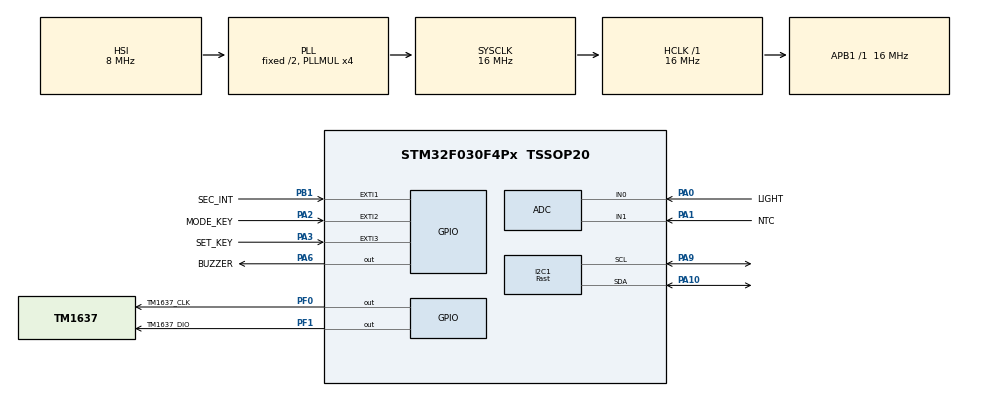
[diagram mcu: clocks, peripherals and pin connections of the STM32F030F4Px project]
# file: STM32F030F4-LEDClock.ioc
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ADC.ContinuousConvMode=ENABLE
ADC.DMAContinuousRequests=ENABLE
ADC.ExternalTrigConv=ADC_EXTERNALTRIGCONV_T3_TRGO
ADC.SamplingTime=ADC_SAMPLETIME_239CYCLES_5
Dma.ADC.0.Direction=DMA_PERIPH_TO_MEMORY
Dma.ADC.0.Instance=DMA1_Channel1
Dma.ADC.0.MemDataAlignment=DMA_MDATAALIGN_WORD
Dma.ADC.0.MemInc=DMA_MINC_ENABLE
Dma.ADC.0.Mode=DMA_CIRCULAR
Dma.ADC.0.PeriphDataAlignment=DMA_PDATAALIGN_WORD
Dma.ADC.0.PeriphInc=DMA_PINC_DISABLE
Dma.ADC.0.Priority=DMA_PRIORITY_LOW
Dma.Request0=ADC
I2C1.I2C_Speed_Mode=I2C_Fast
I2C1.Timing=0x0000020B
Mcu.Family=STM32F0
Mcu.Name=STM32F030F4Px
Mcu.Package=TSSOP20
NVIC.DMA1_Channel1_IRQn=true\:0\:0\:false\:false\:true\:false\:true
NVIC.EXTI0_1_IRQn=true\:0\:0\:true\:false\:true\:true\:true
NVIC.EXTI2_3_IRQn=true\:0\:0\:true\:false\:true\:true\:true
NVIC.TIM16_IRQn=true\:0\:0\:false\:false\:true\:true\:true
NVIC.TIM17_IRQn=true\:0\:0\:false\:false\:true\:true\:true
PA0.GPIO_Label=LIGHT
PA0.Mode=IN0
PA0.Signal=ADC_IN0
PA1.GPIO_Label=NTC
PA1.Mode=IN1
PA1.Signal=ADC_IN1
PA10.Mode=I2C
PA10.Signal=I2C1_SDA
PA13.Mode=Serial_Wire
PA13.Signal=SYS_SWDIO
PA14.Mode=Serial_Wire
PA14.Signal=SYS_SWCLK
PA2.GPIO_Label=MODE_KEY
PA2.GPIO_ModeDefaultEXTI=GPIO_MODE_IT_RISING_FALLING
PA2.GPIO_PuPd=GPIO_PULLUP
PA2.Signal=GPXTI2
PA3.GPIO_Label=SET_KEY
PA3.GPIO_ModeDefaultEXTI=GPIO_MODE_IT_RISING_FALLING
PA3.GPIO_PuPd=GPIO_PULLUP
PA3.Signal=GPXTI3
PA6.GPIO_Label=BUZZER
PA6.PinState=GPIO_PIN_SET
PA6.Signal=GPIO_Output
PA9.Mode=I2C
PA9.Signal=I2C1_SCL
PB1.GPIO_Label=SEC_INT
PB1.GPIO_ModeDefaultEXTI=GPIO_MODE_IT_FALLING
PB1.GPIO_PuPd=GPIO_PULLUP
PB1.Signal=GPXTI1
PF0-OSC_IN.GPIO_Label=TM1637_CLK
PF0-OSC_IN.GPIO_ModeDefaultOutputPP=GPIO_MODE_OUTPUT_OD
PF0-OSC_IN.GPIO_PuPd=GPIO_NOPULL
PF0-OSC_IN.GPIO_Speed=GPIO_SPEED_FREQ_MEDIUM
PF0-OSC_IN.PinState=GPIO_PIN_SET
PF0-OSC_IN.Signal=GPIO_Output
PF1-OSC_OUT.GPIO_Label=TM1637_DIO
PF1-OSC_OUT.GPIO_ModeDefaultOutputPP=GPIO_MODE_OUTPUT_OD
PF1-OSC_OUT.GPIO_PuPd=GPIO_NOPULL
PF1-OSC_OUT.GPIO_Speed=GPIO_SPEED_FREQ_MEDIUM
PF1-OSC_OUT.PinState=GPIO_PIN_SET
PF1-OSC_OUT.Signal=GPIO_Output
ProjectManager.HeapSize=0x200
ProjectManager.StackSize=0x400
ProjectManager.TargetToolchain=TrueSTUDIO
RCC.AHBFreq_Value=16000000
RCC.APB1Freq_Value=16000000
RCC.APB1TimFreq_Value=16000000
RCC.HCLKFreq_Value=16000000
RCC.PLLMUL=RCC_PLL_MUL4
RCC.SYSCLKFreq_VALUE=16000000
RCC.SYSCLKSource=RCC_SYSCLKSOURCE_PLLCLK
TIM16.AutoReloadPreload=TIM_AUTORELOAD_PRELOAD_ENABLE
TIM16.Period=9999
TIM16.Prescaler=1599
TIM17.AutoReloadPreload=TIM_AUTORELOAD_PRELOAD_ENABLE
TIM17.Period=999
TIM17.Prescaler=15
TIM3.Period=9999
TIM3.Prescaler=15
TIM3.TIM_MasterOutputTrigger=TIM_TRGO_UPDATE
VP_TIM16_VS_ClockSourceINT.Mode=Enable_Timer
VP_TIM17_VS_ClockSourceINT.Mode=Enable_Timer
VP_TIM3_VS_ClockSourceINT.Mode=Internal
board=custom

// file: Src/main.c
/* USER CODE BEGIN Header */
/**
  ******************************************************************************
  * @file           : main.c
  * @brief          : Main program body
  ******************************************************************************
  * @attention
  *
  * <h2><center>&copy; Copyright (c) 2019 STMicroelectronics.
  * All rights reserved.</center></h2>
  *
  * This software component is licensed by ST under BSD 3-Clause license,
  * the "License"; You may not use this file except in compliance with the
  * License. You may obtain a copy of the License at:
  *                        opensource.org/licenses/BSD-3-Clause
  *
  ******************************************************************************
  */
/* USER CODE END Header */

#include "main.h"
#include "adc.h"
#include "dma.h"
#include "i2c.h"
#include "tim.h"
#include "gpio.h"

/* USER CODE BEGIN Includes */
#include "TM1637.h"
#include "SD3077.h"
#include "stdbool.h"
/* USER CODE END Includes */

/* USER CODE BEGIN PTD */
typedef enum{
	MODE_SHOW_TIME = 0,
	MODE_SHOW_SECOND,
	MODE_SHOW_TEMPERTURE,
	MODE_SET_HOUR,
	MODE_SET_MINUTE,
	MODE_SET_ALARM_ENABLE,
	MODE_SET_ALARM_HOUR,
	MODE_SET_ALARM_MINUTE,
	MODE_SET_TEMP_SHOW,
	MODE_SET_TEMP_HIDE,
	MODE_SET_BRIGHTNESS,
	MODE_SET_BRIGHTNESS_STRONG,
	MODE_SET_BRIGHTNESS_WEAK,
	MODE_SET_ROT_ENABLE,
	MODE_SET_ROT_START,
	MODE_SET_ROT_STOP,
}DisplayMode;
/* USER CODE END PTD */

/* USER CODE BEGIN PM */
#define SECOND_INT_PIN               SEC_INT_Pin             // 秒中断管脚编号
#define SECOND_INT_EXTI_IRQN         SEC_INT_EXTI_IRQn       // 秒中断IRQN
#define KEY_EXTI_IRQN                MODE_KEY_EXTI_IRQn      // 按键中断IRQN

#define MODE_KEY_GPIO_PORT           MODE_KEY_GPIO_Port      // 模式按钮接口
#define MODE_KEY_PIN                 MODE_KEY_Pin            // 模式按钮接口编号

#define SET_KEY_GPIO_PORT            SET_KEY_GPIO_Port       // 设置按钮接口
#define SET_KEY_PIN                  SET_KEY_Pin             // 设置按钮接口编号

#define BUZZER_GPIO_PORT             BUZZER_GPIO_Port        // 蜂鸣器接口
#define BUZZER_PIN                   BUZZER_Pin              // 蜂鸣器接口编号

#define KEY_LONG_PRESS_EFFECT_TIME   800       // 按钮长按生效时间
#define KEY_REPEAT_TIME_INTERVAL     250       // 按钮长按重复报告间隔
#define KEY_CLICK_EFFECT_TIME        50        // 按钮按下生效时间
#define YEAR_MAX_SET                 38        // 最大可设置的年
#define YEAR_MIN_SET                 15        // 最小可设置的年
#define TEMPERTURE_MAX_SHOW_TIME     15
#define TEMPERTURE_MAX_HIDE_TIME     30
#define RING_ON_TIME_LONG            1000      // 整点报时响铃时长
#define STRONG_BRIGHTNESS_ADC_VALUE  2800      //
#define WEAK_BRIGHTNESS_ADC_VALUE    2300      //
#define STRONG_BRIGHTNESS_VALUE      8         //
#define WEAK_BRIGHTNESS_VALUE        1         //

#define ALARM_CONTROL_TIMER_HANDLE   htim17    // 响铃控制定时器
#define ALARM_CONTROL_TIMER          TIM17     // 响铃控制定时器
#define LIGHT_CONTROL_TIMER_HANDLE   htim16    // 亮度控制定时器
#define LIGHT_CONTROL_TIMER          TIM16     // 亮度控制定时器
#define TEMPERTURE_ADC_HANDLE        hadc      // ADC

#define BAK_DATA_SIZE                13
#define BAK_POWER_DOWN_IND_INDEX     0x00
#define BAK_ALARM_ENABLED_INDEX      0x02
#define BAK_ALARM_HOUR_INDEX         0x03
#define BAK_ALARM_MINUTE_INDEX       0x04
#define BAK_TEMP_SHOW_TIME_INDEX     0x05
#define BAK_TEMP_HIDE_TIME_INDEX     0x06
#define BAK_ROT_ENABLED_INDEX        0x07
#define BAK_ROT_START_INDEX          0x08
#define BAK_ROT_STOP_INDEX           0x09
#define BAK_BRIGHTNESS_INDEX         0x0A
#define BAK_BRIGHTNESS_STRONG_INDEX  0x0B
#define BAK_BRIGHTNESS_WEAK_INDEX    0x0C

#define POWER_DOWN_IND_DATA          0xFA

// NTC温度读取相关
#define TEMP_BUFFER_SIZE   8     // 温度读取缓存长度
#define TEMP_MAP_SIZE      126   // 温度表长度
const uint16_t tempertureMap[] = {1054, 1091, 1128, 1165, 1203, 1242, 1280, 1320, 1359, 1399, 1439, 1479, 1520, 1560, 1601, 1642, 1683, 1724, 1765, 1805, 1846, 1887, 1927, 1968, 2008, 2048, 2087, 2126, 2165, 2204, 2242, 2280, 2318, 2355, 2391, 2427, 2463, 2498, 2533, 2567, 2601, 2634, 2667, 2699, 2730, 2761, 2791, 2821, 2850, 2879, 2907, 2935, 2962, 2988, 3014, 3040, 3064, 3089, 3113, 3136, 3158, 3181, 3202, 3224, 3244, 3264, 3284, 3303, 3322, 3341, 3359, 3376, 3393, 3410, 3426, 3442, 3457, 3472, 3487, 3501, 3515, 3529, 3542, 3555, 3568, 3580, 3592, 3603, 3615, 3626, 3637, 3647, 3657, 3667, 3677, 3687, 3696, 3705, 3714, 3722, 3730, 3739, 3747, 3754, 3762, 3769, 3776, 3783, 3790, 3797, 3803, 3809, 3815, 3821, 3827, 3833, 3839, 3844, 3849, 3854, 3859, 3864, 3869, 3874, 3878, 3883, };

/* USER CODE END PM */

/* USER CODE BEGIN PV */
DisplayMode currentMode = MODE_SHOW_TIME;
bool isInitCompleted = false;
uint32_t lastDisplayChangeTime;

// ADC
uint32_t adcValue[2];

uint8_t savedBrightness = 0;
bool isWeakBrightness = true;
uint8_t strongBrightness, weakBrightness;

DateTime time, lastTime;
uint8_t blinkControl;

bool isAlarmEnabled = false;
bool isAlarmed = false, isAlarming = false;

uint8_t alarmHour = 0, alarmMin = 0;

bool isRingOnTimeEnabled ;
uint8_t ringOnTimeStart, ringOnTimeStop;
uint8_t lastRingOnTimeHour;
uint32_t ringStartTime;

uint32_t lastModeKeyPressTime, lastSetKeyPressTime, lastSetKeyPressReportTime;
uint32_t alarmTimestamp, alarmBeepCount;
bool setKeyRepeatReported = false;

// 温度
uint8_t temperture = 25;
uint8_t tempertureShowTime, tempertureHideTime;
uint8_t tempBuffered = 0;
uint16_t tempBuffer[TEMP_BUFFER_SIZE + 1];
/* USER CODE END PV */

void SystemClock_Config(void);

/* USER CODE BEGIN 0 */
void readBackupSettings() {
	uint8_t data[3];
	ReadBackData(0, data, 3);

	alarmHour = data[0];
	alarmMin = data[1];
	isAlarmEnabled = data[2];

	// 检查闹铃设置是否合规
	if(alarmHour > 23) alarmHour = 0;
	if(alarmMin > 59) alarmMin = 0;
}

void saveSettings(){
	uint8_t data[BAK_DATA_SIZE] = {
			POWER_DOWN_IND_DATA,
			POWER_DOWN_IND_DATA,
			isAlarmEnabled,
			alarmHour,
			alarmMin,
			tempertureShowTime,
			tempertureHideTime,
			isRingOnTimeEnabled,
			ringOnTimeStart,
			ringOnTimeStop,
			savedBrightness,
			strongBrightness,
			weakBrightness,
	};
	WriteBackData(0, data, BAK_DATA_SIZE);
}

void resetSettings(){
	  isAlarmEnabled = false;
	  alarmHour = 0;
	  alarmMin = 0;
	  tempertureShowTime = 2;
	  tempertureHideTime = 10;
	  isRingOnTimeEnabled = false;
	  ringOnTimeStart = 8;
	  ringOnTimeStop = 20;
	  savedBrightness = 8;
	  strongBrightness = 8;
	  weakBrightness = 1;
}

void checkRingOnTime(){
	// 启用整点报时
	if(isRingOnTimeEnabled
			// 当前是整点
			&& time.minutes == 0
			// 当前整点尚未报时
			&& time.hours != lastRingOnTimeHour
			// 闹铃未开启或闹铃设置的时间不是整点或不是当前整点
			&& (!isAlarmEnabled || alarmMin != 0 || alarmHour != time.hours)){

		if(ringOnTimeStart <= ringOnTimeStop){
			if(time.hours >= ringOnTimeStart && time.hours <= ringOnTimeStop){
				ringStartTime = HAL_GetTick();
				HAL_GPIO_WritePin(BUZZER_GPIO_PORT, BUZZER_PIN, GPIO_PIN_RESET);
			}
		}
		else{
			if(time.hours >= ringOnTimeStart || time.hours <= ringOnTimeStop){
				ringStartTime = HAL_GetTick();
				HAL_GPIO_WritePin(BUZZER_GPIO_PORT, BUZZER_PIN, GPIO_PIN_RESET);
			}
		}

		lastRingOnTimeHour = time.hours;
	}
}

void alarmStart(){
	isAlarming = true;
	isAlarmed = true;
	HAL_TIM_Base_Start_IT(&ALARM_CONTROL_TIMER_HANDLE);
}

void alarmTimerTick()
{
    uint16_t onTime = 50, offTime = 50, restTime = 500;
    uint8_t ringCounts = 4;
	alarmTimestamp ++;
	if(HAL_GPIO_ReadPin(BUZZER_GPIO_PORT, BUZZER_PIN) == GPIO_PIN_RESET)
	{
		// 短鸣XX毫秒
		if(alarmTimestamp > onTime){
			HAL_GPIO_WritePin(BUZZER_GPIO_PORT, BUZZER_PIN, SET);
			alarmBeepCount ++;
			alarmTimestamp = 0;
		}
	}
	else
	{
		// 鸣X+1次
		if(alarmBeepCount < ringCounts)
		{
			// 两次短鸣时间间隔
			if(alarmTimestamp > offTime)
			{
				HAL_GPIO_WritePin(BUZZER_GPIO_PORT, BUZZER_PIN, RESET);
				alarmTimestamp = 0;
			}

		}
		// 鸣X+1次后停止响铃一段时间
		else if(alarmTimestamp > restTime)
		{
			HAL_GPIO_WritePin(BUZZER_GPIO_PORT, BUZZER_PIN, RESET);
			alarmTimestamp = 0;
			alarmBeepCount = 0;
		}
	}
}

void alarmStop(){
	isAlarming = false;
	HAL_TIM_Base_Stop_IT(&ALARM_CONTROL_TIMER_HANDLE);
	HAL_GPIO_WritePin(BUZZER_GPIO_PORT, BUZZER_PIN, SET);
}

void checkAlarm(){
	if(alarmHour == time.hours && alarmMin == time.minutes && isAlarmed == false && isAlarmEnabled){
		alarmStart();
	}

	if(alarmHour != time.hours || alarmMin != time.minutes){
		if(isAlarming){
			alarmStop();
		}
		isAlarmed = false;
	}
}

void refreshTemperture(){
	// 开启温度转换ADC

	uint32_t value;
	uint32_t srcValue = adcValue[1];

	if(tempBuffered < TEMP_BUFFER_SIZE)
	{
		tempBuffer[tempBuffered++] = (uint16_t)srcValue;
		value = srcValue;
	}
	else{
		tempBuffer[TEMP_BUFFER_SIZE] = (uint16_t)srcValue;
		value = 0;
		for(uint8_t i = 0; i < TEMP_BUFFER_SIZE; i++)
		{
			tempBuffer[i] = tempBuffer[i+1];
			value += tempBuffer[i];
		}
		value = value / TEMP_BUFFER_SIZE;
	}

	for(uint8_t i = 0; i < TEMP_MAP_SIZE; i++)
	{
		if(value <= tempertureMap[i]){
			temperture = i;
			return;
		}
	}

	temperture = 0;
	return;
}

void refreshTimeDisplay() {
	TimeNow(&time);
	lastTime = time;
	if (currentMode == MODE_SHOW_TIME) {
		uint16_t number = time.hours * 100 + time.minutes;
		TM1637ShowNumberRight(3, number, blinkControl ? 2 : 0xFF, 1);
	}
	else if (currentMode == MODE_SHOW_SECOND) {
		TM1637SetChar(0, ' ', false);
		TM1637SetChar(1, ' ', true);
		TM1637SetChar(2, time.seconds / 10 + '0', false);
		TM1637SetChar(3, time.seconds % 10 + '0', false);
	}
	else if (currentMode == MODE_SHOW_TEMPERTURE){
		refreshTemperture();
		if(temperture > 99){
			temperture = 99;
		}
		TM1637SetChar(0, ' ', false);
		TM1637SetChar(1, temperture / 10 + '0', false);
		TM1637SetChar(2, temperture % 10 + '0', false);
		TM1637SetChar(3, 'C', false);
	}

	checkAlarm();
	checkRingOnTime();
}

void refreshSettingsDisplay(){
	char disp[5] = {0};
	if(currentMode == MODE_SET_HOUR){
		disp[0] = blinkControl ? ' ' : (lastTime.hours / 10 + '0');
		disp[1] = blinkControl ? ' ' : (lastTime.hours % 10 + '0');
		disp[2] = lastTime.minutes / 10  + '0';
		disp[3] = lastTime.minutes % 10  + '0';
	}
	else if(currentMode == MODE_SET_MINUTE){
		disp[0] = lastTime.hours / 10 + '0';
		disp[1] = lastTime.hours % 10 + '0';
		disp[2] = blinkControl ? ' ' : lastTime.minutes / 10  + '0';
		disp[3] = blinkControl ? ' ' : lastTime.minutes % 10  + '0';
	}
	else if(currentMode == MODE_SET_ALARM_ENABLE){
		disp[0] = 'A';
		disp[1] = 'L';
		disp[2] = blinkControl ? ' ' : 'o' ;
		disp[3] = blinkControl ? ' ' : isAlarmEnabled ? 'n' : 'F';
	}
	else if(currentMode == MODE_SET_ALARM_HOUR){
		disp[0] = blinkControl ? ' ' : (alarmHour / 10 + '0');
		disp[1] = blinkControl ? ' ' : (alarmHour % 10 + '0');
		disp[2] = alarmMin / 10  + '0';
		disp[3] = alarmMin % 10  + '0';
	}
	else if(currentMode == MODE_SET_ALARM_MINUTE){
		disp[0] = alarmHour / 10 + '0';
		disp[1] = alarmHour % 10 + '0';
		disp[2] = blinkControl ? ' ' : alarmMin / 10  + '0';
		disp[3] = blinkControl ? ' ' : alarmMin % 10  + '0';
	}
	else if(currentMode == MODE_SET_TEMP_SHOW){
		disp[0] = 'T';
		disp[1] = 'S';
		disp[2] = blinkControl ? ' ' : tempertureShowTime / 10  + '0';
		disp[3] = blinkControl ? ' ' : tempertureShowTime % 10  + '0';
	}
	else if(currentMode == MODE_SET_TEMP_HIDE){
		disp[0] = 'T';
		disp[1] = 'H';
		disp[2] = blinkControl ? ' ' : tempertureHideTime / 10  + '0';
		disp[3] = blinkControl ? ' ' : tempertureHideTime % 10  + '0';
	}
	else if (currentMode == MODE_SET_BRIGHTNESS) {
		disp[0] = 'b';
		disp[1] = 'r';
		if (savedBrightness) {
			disp[2] = blinkControl ? ' ' : '0';
			disp[3] = blinkControl ? ' ' : savedBrightness + '0';
		}
		else {
			disp[2] = 'A';
			disp[3] = 'U';
		}
	}
	else if (currentMode == MODE_SET_BRIGHTNESS_STRONG) {
		disp[0] = 'b';
		disp[1] = '1';
		disp[2] = blinkControl ? ' ' : '0';
		disp[3] = blinkControl ? ' ' : strongBrightness + '0';
	}
	else if (currentMode == MODE_SET_BRIGHTNESS_WEAK) {
		disp[0] = 'b';
		disp[1] = '2';
		disp[2] = blinkControl ? ' ' : '0';
		disp[3] = blinkControl ? ' ' : weakBrightness + '0';
	}
	else if(currentMode == MODE_SET_ROT_ENABLE){
		disp[0] = 'r';
		disp[1] = 'o';
		disp[2] = blinkControl ? ' ' : 'o' ;
		disp[3] = blinkControl ? ' ' : isRingOnTimeEnabled ? 'n' : 'F';
	}
	else if(currentMode == MODE_SET_ROT_START){
		disp[0] = 'r';
		disp[1] = 'S';
		disp[2] = blinkControl ? ' ' : ringOnTimeStart / 10  + '0';
		disp[3] = blinkControl ? ' ' : ringOnTimeStart % 10  + '0';
	}
	else if(currentMode == MODE_SET_ROT_STOP){
		disp[0] = 'r';
		disp[1] = 'e';
		disp[2] = blinkControl ? ' ' : ringOnTimeStop / 10  + '0';
		disp[3] = blinkControl ? ' ' : ringOnTimeStop % 10  + '0';
	}

	TM1637SetChar(0, disp[0], false);
	TM1637SetChar(1, disp[1], true);
	TM1637SetChar(2, disp[2], false);
	TM1637SetChar(3, disp[3], false);
}

void modeKeyClicked() {

	if(isAlarming){
		alarmStop();
		return;
	}

	if (currentMode == MODE_SHOW_TIME || currentMode == MODE_SHOW_TEMPERTURE) {
		currentMode = MODE_SET_HOUR;
		blinkControl = 0xFF;
		refreshSettingsDisplay();
		SetInterruptOuput(F_2_HZ);
	}
	else if (currentMode == MODE_SHOW_SECOND) {
		lastTime.seconds = 0;
		SetTime(&lastTime);
		refreshTimeDisplay();
	}
	else if (currentMode == MODE_SET_HOUR) {
		currentMode = MODE_SET_MINUTE;
		blinkControl = 0xFF;
		refreshSettingsDisplay();
	}
	else if (currentMode == MODE_SET_MINUTE) {
		currentMode = MODE_SET_ALARM_ENABLE;
		blinkControl = 0x00;
		refreshSettingsDisplay();
	}
	else if (currentMode == MODE_SET_ALARM_ENABLE) {
		currentMode = isAlarmEnabled ? MODE_SET_ALARM_HOUR : MODE_SET_TEMP_SHOW;
		blinkControl = 0xFF;
		refreshSettingsDisplay();
	}
	else if (currentMode == MODE_SET_ALARM_HOUR) {
		currentMode = MODE_SET_ALARM_MINUTE;
		blinkControl = 0xFF;
		refreshSettingsDisplay();
	}
	else if (currentMode == MODE_SET_ALARM_MINUTE) {
		currentMode = MODE_SET_TEMP_SHOW;
		blinkControl = 0x00;
		refreshSettingsDisplay();
	}
	else if (currentMode == MODE_SET_TEMP_SHOW) {
		if(tempertureShowTime != 0){
			currentMode = MODE_SET_TEMP_HIDE;
		}
		else{
			currentMode = MODE_SET_BRIGHTNESS;
		}
		blinkControl = 0x00;
		refreshSettingsDisplay();

	}
	else if (currentMode == MODE_SET_TEMP_HIDE) {
		currentMode = MODE_SET_BRIGHTNESS;
		blinkControl = 0x00;
		refreshSettingsDisplay();
	}
	else if (currentMode == MODE_SET_BRIGHTNESS) {
		if(savedBrightness == 0){
			currentMode = MODE_SET_BRIGHTNESS_STRONG;
		}
		else{
			currentMode = MODE_SET_ROT_ENABLE;
		}
		blinkControl = 0x00;
		refreshSettingsDisplay();
	}
	else if (currentMode == MODE_SET_BRIGHTNESS_STRONG) {
		currentMode = MODE_SET_BRIGHTNESS_WEAK;
		blinkControl = 0x00;
		TM1637SetBrightness(weakBrightness);
		refreshSettingsDisplay();
	}
	else if (currentMode == MODE_SET_BRIGHTNESS_WEAK) {
		currentMode = MODE_SET_ROT_ENABLE;
		blinkControl = 0x00;
		TM1637SetBrightness(strongBrightness);
		isWeakBrightness = false;
		refreshSettingsDisplay();
	}
	else if (currentMode == MODE_SET_ROT_ENABLE) {
		blinkControl = 0x00;
		if(!isRingOnTimeEnabled){
			currentMode = MODE_SHOW_TIME;
			// 设置时间
			TimeNow(&time);
			lastTime.seconds = time.seconds;
			SetTime(&lastTime);
			lastRingOnTimeHour = lastTime.hours;

			saveSettings();

			refreshTimeDisplay();
			EnableSencodInterruptOuput();
			lastDisplayChangeTime = HAL_GetTick();
		}
		else{
			currentMode = MODE_SET_ROT_START;
			refreshSettingsDisplay();
		}
	}
	else if (currentMode == MODE_SET_ROT_START) {
		currentMode = MODE_SET_ROT_STOP;
		blinkControl = 0x00;
		refreshSettingsDisplay();
	}
	else if (currentMode == MODE_SET_ROT_STOP) {
		currentMode = MODE_SHOW_TIME;
		// 设置时间
		TimeNow(&time);
		lastTime.seconds = time.seconds;
		SetTime(&lastTime);
		lastRingOnTimeHour = lastTime.hours;
		saveSettings();
		refreshTimeDisplay();
		EnableSencodInterruptOuput();
		lastDisplayChangeTime = HAL_GetTick();

	}
}

void modeKeyLongPressed(){
	if(isAlarming){
		alarmStop();
		return;
	}

	if(currentMode >= MODE_SET_HOUR && currentMode <= MODE_SET_ROT_STOP){
		currentMode = MODE_SHOW_TIME;
		refreshTimeDisplay();
		lastDisplayChangeTime = HAL_GetTick();
	}
}

void setKeyClicked() {
	if(isAlarming){
		alarmStop();
		return;
	}

	if (currentMode == MODE_SHOW_TIME || currentMode == MODE_SHOW_TEMPERTURE) {
		currentMode = MODE_SHOW_SECOND;
		refreshTimeDisplay();
	}
	else if (currentMode == MODE_SHOW_SECOND) {
		currentMode = MODE_SHOW_TIME;
		refreshTimeDisplay();
		lastDisplayChangeTime = HAL_GetTick();
	}
	else if (currentMode == MODE_SET_HOUR) {
		lastTime.hours++;
		if (lastTime.hours > 23) {
			lastTime.hours = 0;
		}
		blinkControl = 0;
		refreshSettingsDisplay();
	}
	else if (currentMode == MODE_SET_MINUTE) {
		lastTime.minutes++;
		if (lastTime.minutes > 59) {
			lastTime.minutes = 0;
		}
		blinkControl = 0;
		refreshSettingsDisplay();
	}
	else if (currentMode == MODE_SET_ALARM_ENABLE) {
		isAlarmEnabled = isAlarmEnabled ? false : true;
		blinkControl = 0;
		refreshSettingsDisplay();
	}
	else if (currentMode == MODE_SET_ALARM_HOUR) {
		alarmHour++;
		if (alarmHour > 23) {
			alarmHour = 0;
		}
		blinkControl = 0;
		refreshSettingsDisplay();
	}
	else if (currentMode == MODE_SET_ALARM_MINUTE) {
		alarmMin++;
		if (alarmMin > 59) {
			alarmMin = 0;
		}
		blinkControl = 0;
		refreshSettingsDisplay();
	}
	else if (currentMode == MODE_SET_TEMP_SHOW) {
		tempertureShowTime++;
		if (tempertureShowTime > TEMPERTURE_MAX_SHOW_TIME) {
			tempertureShowTime = tempertureHideTime == 0 ? 1 : 0;
		}
		blinkControl = 0;
		refreshSettingsDisplay();
	}
	else if (currentMode == MODE_SET_TEMP_HIDE) {
		tempertureHideTime++;
		if (tempertureHideTime > TEMPERTURE_MAX_HIDE_TIME) {
			tempertureHideTime = tempertureShowTime == 0 ? 1 : 0;
		}
		blinkControl = 0;
		refreshSettingsDisplay();
	}
	else if (currentMode == MODE_SET_BRIGHTNESS) {
		savedBrightness++;
		if (savedBrightness > 8) {
			savedBrightness = 0;
		}
		TM1637SetBrightness(savedBrightness == 0 ? 1 : savedBrightness);
		blinkControl = 0;
		refreshSettingsDisplay();
	}
	else if (currentMode == MODE_SET_BRIGHTNESS_STRONG) {
		strongBrightness++;
		if (strongBrightness > 8) {
			strongBrightness = 1;
		}
		blinkControl = 0;
		TM1637SetBrightness(strongBrightness);
		refreshSettingsDisplay();
	}
	else if (currentMode == MODE_SET_BRIGHTNESS_WEAK) {
		weakBrightness++;
		if (weakBrightness > 8) {
			weakBrightness = 1;
		}
		blinkControl = 0;
		TM1637SetBrightness(weakBrightness);
		refreshSettingsDisplay();
	}
	else if (currentMode == MODE_SET_ROT_ENABLE) {
		isRingOnTimeEnabled = isRingOnTimeEnabled ? false : true;
		blinkControl = 0;
		refreshSettingsDisplay();
	}
	else if (currentMode == MODE_SET_ROT_START) {
		ringOnTimeStart++;
		if (ringOnTimeStart > 23) {
			ringOnTimeStart = 0;
		}
		blinkControl = 0;
		refreshSettingsDisplay();
	}
	else if (currentMode == MODE_SET_ROT_STOP) {
		ringOnTimeStop++;
		if (ringOnTimeStop > 23) {
			ringOnTimeStop = 0;
		}
		blinkControl = 0;
		refreshSettingsDisplay();
	}
}

void setKeyPresseRepeatReport() {
	setKeyRepeatReported = true;

	if (currentMode == MODE_SET_HOUR) {
		lastTime.hours++;
		if (lastTime.hours > 23) {
			lastTime.hours = 0;
		}
		blinkControl = 0;
		refreshSettingsDisplay();
	}
	else if (currentMode == MODE_SET_MINUTE) {
		lastTime.minutes++;
		if (lastTime.minutes > 59) {
			lastTime.minutes = 0;
		}
		blinkControl = 0;
		refreshSettingsDisplay();
	}
	else if (currentMode == MODE_SET_ALARM_HOUR) {
		alarmHour++;
		if (alarmHour > 23) {
			alarmHour = 0;
		}
		blinkControl = 0;
		refreshSettingsDisplay();
	}
	else if (currentMode == MODE_SET_ALARM_MINUTE) {
		alarmMin++;
		if (alarmMin > 59) {
			alarmMin = 0;
		}
		blinkControl = 0;
		refreshSettingsDisplay();
	}
	else if (currentMode == MODE_SET_TEMP_SHOW) {
		tempertureShowTime++;
		if (tempertureShowTime > TEMPERTURE_MAX_SHOW_TIME) {
			tempertureShowTime = tempertureHideTime == 0 ? 1 : 0;
		}
		blinkControl = 0;
		refreshSettingsDisplay();
	}
	else if (currentMode == MODE_SET_TEMP_HIDE) {
		tempertureHideTime++;
		if (tempertureHideTime > TEMPERTURE_MAX_HIDE_TIME) {
			tempertureHideTime = tempertureShowTime == 0 ? 1 : 0;
		}
		blinkControl = 0;
		refreshSettingsDisplay();
	}
	else if (currentMode == MODE_SET_ROT_START) {
		ringOnTimeStart++;
		if (ringOnTimeStart > 23) {
			ringOnTimeStart = 0;
		}
		blinkControl = 0;
		refreshSettingsDisplay();
	}
	else if (currentMode == MODE_SET_ROT_STOP) {
		ringOnTimeStop++;
		if (ringOnTimeStop > 23) {
			ringOnTimeStop = 0;
		}
		blinkControl = 0;
		refreshSettingsDisplay();
	}
}

void setKeyPressed(){
	lastSetKeyPressTime = HAL_GetTick();
}

void setKeyReleased() {
	uint32_t currentVal = HAL_GetTick();
	if (lastSetKeyPressTime > currentVal) {
		setKeyClicked();
	}
	else if (currentVal - lastSetKeyPressTime > KEY_CLICK_EFFECT_TIME && !setKeyRepeatReported) {
		setKeyClicked();
	}
	setKeyRepeatReported = false;
}

void modeKeyPressed(){
	lastModeKeyPressTime = HAL_GetTick();
}

void modeKeyReleased(){
	uint32_t currentVal = HAL_GetTick();
	if(lastModeKeyPressTime > currentVal)
	{
		modeKeyClicked();
	}
	else if(currentVal - lastModeKeyPressTime > KEY_LONG_PRESS_EFFECT_TIME)
	{
		modeKeyLongPressed();
	}
	else if(currentVal - lastModeKeyPressTime > KEY_CLICK_EFFECT_TIME)
	{
		modeKeyClicked();
	}
}
/* USER CODE END 0 */

int main(void)
{

  /* MCU Configuration--------------------------------------------------------*/

  /* Reset of all peripherals, Initializes the Flash interface and the Systick. */
  HAL_Init();

  /* Configure the system clock */
  SystemClock_Config();

  /* Initialize all configured peripherals */
  MX_GPIO_Init();
  MX_DMA_Init();
  MX_I2C1_Init();
  MX_ADC_Init();
  MX_TIM17_Init();
  MX_TIM3_Init();
  MX_TIM16_Init();
  /* USER CODE BEGIN 2 */

  // 检查是否掉电并读取所有保存的设置
  uint8_t backupData[BAK_DATA_SIZE];
  ReadBackData(BAK_POWER_DOWN_IND_INDEX, backupData, BAK_DATA_SIZE);
  if(backupData[0] != POWER_DOWN_IND_DATA && backupData[1] != POWER_DOWN_IND_DATA){
	  // 重置时间
	  time.year = YEAR_MIN_SET;
	  time.month = 1;
	  time.dayOfMonth = 1;
	  time.dayOfWeek = 1;
	  time.hours = 0;
	  time.minutes = 0;
	  time.ampm = HOUR24;
	  time.seconds = 0;
	  SetTime(&time);

	  // 重置设置
	  resetSettings();
	  saveSettings();
  }else{
	  isAlarmEnabled = backupData[BAK_ALARM_ENABLED_INDEX];
	  alarmHour = backupData[BAK_ALARM_HOUR_INDEX];
	  alarmMin = backupData[BAK_ALARM_MINUTE_INDEX];
	  tempertureShowTime = backupData[BAK_TEMP_SHOW_TIME_INDEX];
	  tempertureHideTime = backupData[BAK_TEMP_HIDE_TIME_INDEX];
	  isRingOnTimeEnabled = backupData[BAK_ROT_ENABLED_INDEX];
	  ringOnTimeStart = backupData[BAK_ROT_START_INDEX];
	  ringOnTimeStop = backupData[BAK_ROT_STOP_INDEX];
	  savedBrightness = backupData[BAK_BRIGHTNESS_INDEX];
	  strongBrightness = backupData[BAK_BRIGHTNESS_STRONG_INDEX];
	  weakBrightness = backupData[BAK_BRIGHTNESS_WEAK_INDEX];
  }

  // 数据检查
  bool hasError = false;
  if(alarmHour > (uint8_t)23 || alarmMin > (uint8_t)59){
	  hasError = true;
  }
//  if(tempertureShowTime == 0 && tempertureHideTime == 0){
//	  hasError = true;
//  }
  if(ringOnTimeStart > 23 || ringOnTimeStop > 23){
	  hasError = true;
  }
  if(savedBrightness > 8 || strongBrightness > 8 || strongBrightness == 0 || weakBrightness > 8 || weakBrightness == 0){
	  hasError = true;
  }

  // 如果检查存在错误就重置设置
  if(hasError){
	  resetSettings();
	  saveSettings();
  }

  TM1637Init();
  if(savedBrightness != 0){
	  TM1637SetBrightness(savedBrightness);
  }
  else{
	  TM1637SetBrightness(STRONG_BRIGHTNESS_VALUE);
	  isWeakBrightness = false;
  }

  HAL_ADCEx_Calibration_Start(&hadc);
  HAL_ADC_Start_DMA(&hadc, adcValue, 2);
  HAL_TIM_Base_Start(&htim3);

  HAL_TIM_Base_Start_IT(&LIGHT_CONTROL_TIMER_HANDLE);

  TimeNow(&time);
  lastRingOnTimeHour = time.hours;

  EnableSencodInterruptOuput();

  lastDisplayChangeTime = HAL_GetTick();

  isInitCompleted = true;

  /* USER CODE END 2 */

  /* Infinite loop */
  /* USER CODE BEGIN WHILE */
  uint32_t now = 0, passedTime;
  while (1)
  {
    /* USER CODE END WHILE */

    /* USER CODE BEGIN 3 */
		if (HAL_GPIO_ReadPin(BUZZER_GPIO_PORT, BUZZER_PIN) == GPIO_PIN_RESET && !isAlarming) {
			now = HAL_GetTick();
			if (now < ringStartTime || (now - ringStartTime >= RING_ON_TIME_LONG)) {
				HAL_GPIO_WritePin(BUZZER_GPIO_PORT, BUZZER_PIN, GPIO_PIN_SET);
			}
		}

		if (tempertureShowTime > 0) {
			if (currentMode == MODE_SHOW_TIME) {
				now = HAL_GetTick();
				passedTime = now - lastDisplayChangeTime;
				if (now < lastDisplayChangeTime || passedTime >= (tempertureHideTime * 1000)) {
					//currentMode = MODE_SHOW_TEMPERTURE;
					lastDisplayChangeTime = now;
				}

			}
			else if (currentMode == MODE_SHOW_TEMPERTURE && tempertureHideTime > 0) {
				now = HAL_GetTick();
				passedTime = now - lastDisplayChangeTime;
				if (now < lastDisplayChangeTime || passedTime >= (tempertureShowTime * 1000)) {
					currentMode = MODE_SHOW_TIME;
					lastDisplayChangeTime = now;
				}
			}
		} else if(currentMode == MODE_SHOW_TEMPERTURE){
			currentMode = MODE_SHOW_TIME;
			lastDisplayChangeTime = now;
		}

		if (HAL_GPIO_ReadPin(SET_KEY_GPIO_PORT, SET_KEY_PIN) == GPIO_PIN_RESET
				&& currentMode >= MODE_SET_HOUR && currentMode <= MODE_SET_ROT_STOP) {
				uint32_t curVal = HAL_GetTick();
				uint32_t timePassed = curVal - lastSetKeyPressTime;
				if (timePassed > KEY_LONG_PRESS_EFFECT_TIME) {
					if (curVal - lastSetKeyPressReportTime > KEY_REPEAT_TIME_INTERVAL) {
						setKeyPresseRepeatReport();
						lastSetKeyPressReportTime = curVal;
					}
				}
			}

	}
  /* USER CODE END 3 */
}

void SystemClock_Config(void)
{
  RCC_OscInitTypeDef RCC_OscInitStruct = {0};
  RCC_ClkInitTypeDef RCC_ClkInitStruct = {0};
  RCC_PeriphCLKInitTypeDef PeriphClkInit = {0};

  /** Initializes the CPU, AHB and APB busses clocks
  */
  RCC_OscInitStruct.OscillatorType = RCC_OSCILLATORTYPE_HSI|RCC_OSCILLATORTYPE_HSI14;
  RCC_OscInitStruct.HSIState = RCC_HSI_ON;
  RCC_OscInitStruct.HSI14State = RCC_HSI14_ON;
  RCC_OscInitStruct.HSICalibrationValue = RCC_HSICALIBRATION_DEFAULT;
  RCC_OscInitStruct.HSI14CalibrationValue = 16;
  RCC_OscInitStruct.PLL.PLLState = RCC_PLL_ON;
  RCC_OscInitStruct.PLL.PLLSource = RCC_PLLSOURCE_HSI;
  RCC_OscInitStruct.PLL.PLLMUL = RCC_PLL_MUL4;
  RCC_OscInitStruct.PLL.PREDIV = RCC_PREDIV_DIV1;
  if (HAL_RCC_OscConfig(&RCC_OscInitStruct) != HAL_OK)
  {
    Error_Handler();
  }
  /** Initializes the CPU, AHB and APB busses clocks
  */
  RCC_ClkInitStruct.ClockType = RCC_CLOCKTYPE_HCLK|RCC_CLOCKTYPE_SYSCLK
                              |RCC_CLOCKTYPE_PCLK1;
  RCC_ClkInitStruct.SYSCLKSource = RCC_SYSCLKSOURCE_PLLCLK;
  RCC_ClkInitStruct.AHBCLKDivider = RCC_SYSCLK_DIV1;
  RCC_ClkInitStruct.APB1CLKDivider = RCC_HCLK_DIV1;

  if (HAL_RCC_ClockConfig(&RCC_ClkInitStruct, FLASH_LATENCY_0) != HAL_OK)
  {
    Error_Handler();
  }
  PeriphClkInit.PeriphClockSelection = RCC_PERIPHCLK_I2C1;
  PeriphClkInit.I2c1ClockSelection = RCC_I2C1CLKSOURCE_HSI;
  if (HAL_RCCEx_PeriphCLKConfig(&PeriphClkInit) != HAL_OK)
  {
    Error_Handler();
  }
}

/* USER CODE BEGIN 4 */
void HAL_GPIO_EXTI_Callback(uint16_t GPIO_Pin){

	if (GPIO_Pin == SECOND_INT_PIN && isInitCompleted) {
		if(currentMode == MODE_SHOW_TIME || currentMode == MODE_SHOW_SECOND || currentMode == MODE_SHOW_TEMPERTURE){
			refreshTimeDisplay();
		}
		else if(currentMode >= MODE_SET_HOUR && currentMode <= MODE_SET_ROT_STOP){
			refreshSettingsDisplay();
		}
		blinkControl = ~blinkControl;
	}
	else if (GPIO_Pin == MODE_KEY_PIN) {

		if (HAL_GPIO_ReadPin(MODE_KEY_GPIO_PORT, MODE_KEY_PIN) == GPIO_PIN_RESET) {
			modeKeyPressed();
		}
		else {
			modeKeyReleased();
		}
	}
	else if (GPIO_Pin == SET_KEY_PIN) {
		if (HAL_GPIO_ReadPin(SET_KEY_GPIO_PORT, SET_KEY_PIN) == GPIO_PIN_RESET) {
			setKeyPressed();
		}
		else {
			setKeyReleased();
		}
	}
}

void HAL_TIM_PeriodElapsedCallback(TIM_HandleTypeDef *htim) {
	if (htim->Instance == ALARM_CONTROL_TIMER) {
		alarmTimerTick();
	}
	else if (htim->Instance == LIGHT_CONTROL_TIMER) {
		if (savedBrightness == 0) {
			if (isWeakBrightness && adcValue[0] > STRONG_BRIGHTNESS_ADC_VALUE) {
				isWeakBrightness = false;
				if(strongBrightness > 0){
					TM1637SetBrightness(strongBrightness);
				}
			}
			else if (!isWeakBrightness && adcValue[0] < WEAK_BRIGHTNESS_ADC_VALUE) {
				isWeakBrightness = true;
				if(weakBrightness > 0){
					TM1637SetBrightness(weakBrightness);
				}
			}
		}
	}
}
/* USER CODE END 4 */

void Error_Handler(void)
{
}

/************************ (C) COPYRIGHT STMicroelectronics *****END OF FILE****/
